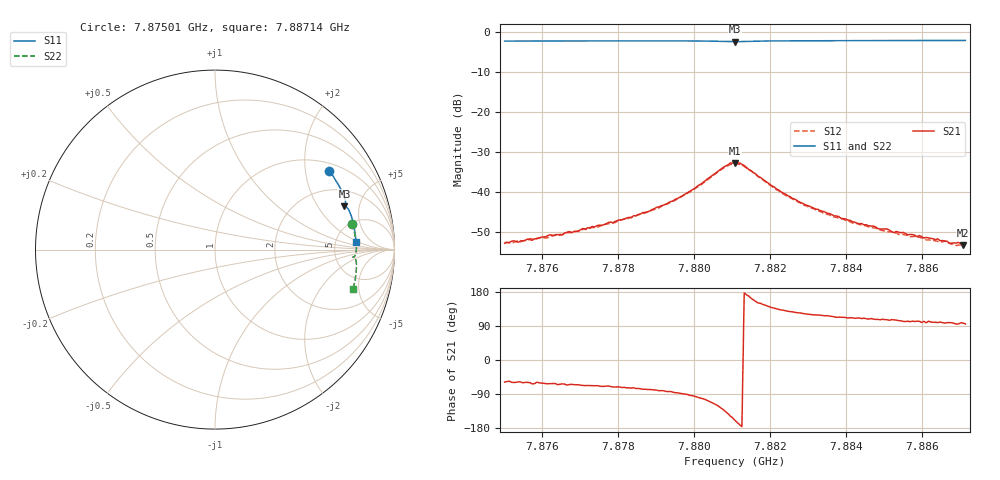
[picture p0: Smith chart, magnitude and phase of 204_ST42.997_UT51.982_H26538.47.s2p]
#  HZ  S  DB  R  50.00
! Rohde & Schwarz Vector Network Analyzer
! Rohde-Schwarz,ZNB20-2Port,1311601062101988,3.16
! Created: UTC 1/12/2023, 6:44:33 PM
! freq[Hz]  db:S11  ang:S11  db:S21  ang:S21  db:S12  ang:S12  db:S22  ang:S22
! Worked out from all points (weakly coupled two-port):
!   201 points, 7.87501 GHz to 7.88714 GHz, reference 50 ohm
!   highest |S21| = -32.67 dB at 7.88108 GHz (marker M1); lowest = -53.2 dB at 7.88708 GHz (marker M2)
!   lowest |S11| = -2.4 dB at 7.88108 GHz (marker M3), VSWR 7.34, Z = 156 + j177 ohm
!   |S11| at or under -10 dB: nowhere
!   |S22| runs from -2.3 to -1.9 dB; largest |S21 - S12| = 0.0019
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7.875012e9  -2.24 34.5  -52.74 -58.2  -52.57 -60.1  -2.17 10.6
7.876104e9  -2.21 31.5  -51.09 -62.6  -51.45 -63.8  -2.13 8.0
7.876528e9  -2.21 30.3  -50.62 -63.0  -50.62 -68.2  -2.12 7.0
7.87671e9  -2.20 29.8  -49.82 -64.9  -50.12 -69.1  -2.12 6.6
7.876771e9  -2.21 29.7  -50.14 -64.2  -49.88 -68.4  -2.12 6.5
7.877074e9  -2.20 28.9  -49.06 -67.0  -49.21 -70.7  -2.11 5.7
7.877863e9  -2.19 26.7  -47.63 -71.1  -47.73 -74.1  -2.09 3.9
7.879076e9  -2.18 23.3  -43.65 -81.3  -43.90 -83.9  -2.08 1.1
7.879986e9  -2.20 20.7  -39.24 -94.7  -39.33 -98.7  -2.09 -1.3
7.880956e9  -2.37 18.5  -32.67 -148.2  -33.09 -150.7  -2.27 -3.1
7.881077e9  -2.38 18.4  -32.67 -159.4  -32.94 -162.8  -2.27 -3.1
7.88132e9  -2.34 18.4  -33.32 176.9  -33.55 174.1  -2.24 -2.9
7.882412e9  -2.16 15.6  -40.47 129.8  -40.82 126.1  -2.04 -5.2
7.88314e9  -2.13 13.6  -43.93 119.2  -44.07 116.2  -2.00 -7.0
7.884292e9  -2.11 10.4  -47.75 110.7  -47.85 107.9  -1.98 -9.6
7.885141e9  -2.10 8.2  -49.47 104.7  -49.91 102.5  -1.96 -11.5
7.886112e9  -2.09 5.6  -51.30 98.2  -51.92 97.6  -1.94 -13.7
7.886597e9  -2.09 4.4  -52.19 97.3  -52.16 95.5  -1.94 -14.6
7.886718e9  -2.09 4.0  -52.73 98.7  -52.72 93.0  -1.94 -14.9
7.886961e9  -2.08 3.4  -52.54 95.2  -53.23 96.4  -1.94 -15.5
7.887082e9  -2.08 3.1  -53.20 97.6  -53.48 91.9  -1.94 -15.7
7.887143e9  -2.08 2.9  -52.93 95.0  -53.34 93.2  -1.94 -15.8
